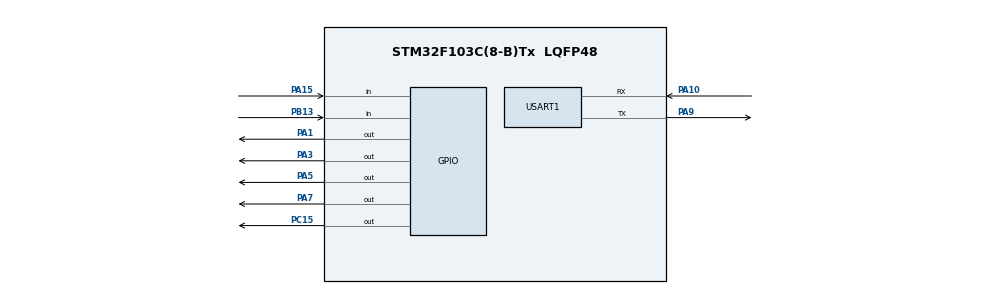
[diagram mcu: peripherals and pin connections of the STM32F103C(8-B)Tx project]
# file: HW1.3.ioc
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Mcu.Family=STM32F1
Mcu.Name=STM32F103C(8-B)Tx
Mcu.Package=LQFP48
NVIC.PriorityGroup=NVIC_PRIORITYGROUP_4
NVIC.USART1_IRQn=true\:0\:0\:false\:false\:true\:true\:true\:true
PA1.GPIO_PuPd=GPIO_NOPULL
PA1.Signal=GPIO_Output
PA10.Mode=Asynchronous
PA10.Signal=USART1_RX
PA13.Mode=Serial_Wire
PA13.Signal=SYS_JTMS-SWDIO
PA14.Mode=Serial_Wire
PA14.Signal=SYS_JTCK-SWCLK
PA15.GPIO_PuPd=GPIO_PULLUP
PA15.Signal=GPIO_Input
PA3.Signal=GPIO_Output
PA5.Signal=GPIO_Output
PA7.Signal=GPIO_Output
PA9.Mode=Asynchronous
PA9.Signal=USART1_TX
PB13.GPIO_PuPd=GPIO_PULLUP
PB13.Signal=GPIO_Input
PC15-OSC32_OUT.Signal=GPIO_Output
ProjectManager.HeapSize=0x200
ProjectManager.StackSize=0x400
ProjectManager.TargetToolchain=MDK-ARM V5.32
RCC.APB1Freq_Value=8000000
RCC.APB2Freq_Value=8000000
USART1.VirtualMode=VM_ASYNC
board=custom

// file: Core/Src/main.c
/* USER CODE BEGIN Header */
/**
  ******************************************************************************
  * @file           : main.c
  * @brief          : Main program body
  ******************************************************************************
  * @attention
  *
  * Copyright (c) 2026 STMicroelectronics.
  * All rights reserved.
  *
  * This software is licensed under terms that can be found in the LICENSE file
  * in the root directory of this software component.
  * If no LICENSE file comes with this software, it is provided AS-IS.
  *
  ******************************************************************************
  */
/* USER CODE END Header */
#include "main.h"

UART_HandleTypeDef huart1;

void SystemClock_Config(void);
static void MX_GPIO_Init(void);
static void MX_USART1_UART_Init(void);

int main(void)
{

  /* MCU Configuration--------------------------------------------------------*/

  /* Reset of all peripherals, Initializes the Flash interface and the Systick. */
  HAL_Init();

  /* Configure the system clock */
  SystemClock_Config();

  /* Initialize all configured peripherals */
  MX_GPIO_Init();
  MX_USART1_UART_Init();

  /* Infinite loop */
  /* USER CODE BEGIN WHILE */

	while (1)
  {
		uint8_t mode=0;
		HAL_UART_Receive(&huart1,&mode,1,20);
		if(mode=='0'){
		HAL_GPIO_WritePin(GPIOA,GPIO_PIN_7,GPIO_PIN_SET);
		HAL_Delay(100);
		HAL_GPIO_WritePin(GPIOA,GPIO_PIN_7,GPIO_PIN_RESET);
		HAL_Delay(100);
		HAL_GPIO_WritePin(GPIOA,GPIO_PIN_5,GPIO_PIN_SET);
		HAL_Delay(100);
		HAL_GPIO_WritePin(GPIOA,GPIO_PIN_5,GPIO_PIN_RESET);
		HAL_Delay(100);
		HAL_GPIO_WritePin(GPIOA,GPIO_PIN_3,GPIO_PIN_SET);
		HAL_Delay(100);
		HAL_GPIO_WritePin(GPIOA,GPIO_PIN_3,GPIO_PIN_RESET);
		HAL_Delay(100);
		HAL_GPIO_WritePin(GPIOA,GPIO_PIN_1,GPIO_PIN_SET);
		HAL_Delay(100);
		HAL_GPIO_WritePin(GPIOA,GPIO_PIN_1,GPIO_PIN_RESET);
		HAL_Delay(100);
		HAL_GPIO_WritePin(GPIOC,GPIO_PIN_15,GPIO_PIN_SET);
		HAL_Delay(100);
		HAL_GPIO_WritePin(GPIOC,GPIO_PIN_15,GPIO_PIN_RESET);
		HAL_Delay(100);

		HAL_UART_Receive(&huart1,&mode,1,HAL_MAX_DELAY);
		}

		if(mode=='1'){
		HAL_GPIO_WritePin(GPIOA,GPIO_PIN_7,GPIO_PIN_SET);
		HAL_Delay(100);
		HAL_GPIO_WritePin(GPIOA,GPIO_PIN_7,GPIO_PIN_RESET);
		HAL_Delay(100);
		HAL_GPIO_WritePin(GPIOA,GPIO_PIN_5,GPIO_PIN_SET);
		HAL_Delay(100);
		HAL_GPIO_WritePin(GPIOA,GPIO_PIN_5,GPIO_PIN_RESET);
		HAL_Delay(100);
		HAL_GPIO_WritePin(GPIOA,GPIO_PIN_3,GPIO_PIN_SET);
		HAL_Delay(100);
		HAL_GPIO_WritePin(GPIOA,GPIO_PIN_3,GPIO_PIN_RESET);
		HAL_Delay(100);
		HAL_GPIO_WritePin(GPIOA,GPIO_PIN_1,GPIO_PIN_SET);
		HAL_Delay(100);
		HAL_GPIO_WritePin(GPIOA,GPIO_PIN_1,GPIO_PIN_RESET);
		HAL_Delay(100);
		HAL_GPIO_WritePin(GPIOC,GPIO_PIN_15,GPIO_PIN_SET);
		HAL_Delay(100);
		HAL_GPIO_WritePin(GPIOC,GPIO_PIN_15,GPIO_PIN_RESET);
		HAL_Delay(100);
		HAL_GPIO_WritePin(GPIOA,GPIO_PIN_1,GPIO_PIN_SET);
		HAL_Delay(100);
		HAL_GPIO_WritePin(GPIOA,GPIO_PIN_1,GPIO_PIN_RESET);
		HAL_Delay(100);
		HAL_GPIO_WritePin(GPIOA,GPIO_PIN_3,GPIO_PIN_SET);
		HAL_Delay(100);
		HAL_GPIO_WritePin(GPIOA,GPIO_PIN_3,GPIO_PIN_RESET);
		HAL_Delay(100);
		HAL_GPIO_WritePin(GPIOA,GPIO_PIN_5,GPIO_PIN_SET);
		HAL_Delay(100);
		HAL_GPIO_WritePin(GPIOA,GPIO_PIN_5,GPIO_PIN_RESET);
		HAL_Delay(100);
		HAL_GPIO_WritePin(GPIOA,GPIO_PIN_7,GPIO_PIN_SET);
		HAL_Delay(100);
		HAL_GPIO_WritePin(GPIOA,GPIO_PIN_7,GPIO_PIN_RESET);
		HAL_Delay(100);
		HAL_UART_Receive(&huart1,&mode,1,HAL_MAX_DELAY);}

		if(mode=='2'){
		HAL_GPIO_WritePin(GPIOA,GPIO_PIN_1,GPIO_PIN_SET);
		HAL_GPIO_WritePin(GPIOA,GPIO_PIN_3,GPIO_PIN_SET);
		HAL_GPIO_WritePin(GPIOA,GPIO_PIN_5,GPIO_PIN_SET);
		HAL_GPIO_WritePin(GPIOA,GPIO_PIN_7,GPIO_PIN_SET);
		HAL_GPIO_WritePin(GPIOC,GPIO_PIN_15,GPIO_PIN_SET);
		HAL_Delay(400);
		HAL_GPIO_WritePin(GPIOA,GPIO_PIN_1,GPIO_PIN_RESET);
		HAL_GPIO_WritePin(GPIOA,GPIO_PIN_3,GPIO_PIN_RESET);
		HAL_GPIO_WritePin(GPIOA,GPIO_PIN_5,GPIO_PIN_RESET);
		HAL_GPIO_WritePin(GPIOA,GPIO_PIN_7,GPIO_PIN_RESET);
		HAL_GPIO_WritePin(GPIOC,GPIO_PIN_15,GPIO_PIN_RESET);
    HAL_Delay(400);
		HAL_UART_Receive(&huart1,&mode,1,HAL_MAX_DELAY);}

		if(mode=='3'){
		HAL_GPIO_WritePin(GPIOA,GPIO_PIN_1,GPIO_PIN_RESET);
		HAL_GPIO_WritePin(GPIOA,GPIO_PIN_3,GPIO_PIN_SET);
		HAL_GPIO_WritePin(GPIOA,GPIO_PIN_5,GPIO_PIN_SET);
		HAL_GPIO_WritePin(GPIOA,GPIO_PIN_7,GPIO_PIN_SET);
		HAL_GPIO_WritePin(GPIOC,GPIO_PIN_15,GPIO_PIN_RESET);
		HAL_Delay(200);
		HAL_GPIO_WritePin(GPIOA,GPIO_PIN_1,GPIO_PIN_SET);
		HAL_GPIO_WritePin(GPIOA,GPIO_PIN_3,GPIO_PIN_RESET);
		HAL_GPIO_WritePin(GPIOA,GPIO_PIN_5,GPIO_PIN_RESET);
		HAL_GPIO_WritePin(GPIOA,GPIO_PIN_7,GPIO_PIN_RESET);
		HAL_GPIO_WritePin(GPIOC,GPIO_PIN_15,GPIO_PIN_SET);
    HAL_Delay(200);
		HAL_GPIO_WritePin(GPIOA,GPIO_PIN_1,GPIO_PIN_RESET);
		HAL_GPIO_WritePin(GPIOC,GPIO_PIN_15,GPIO_PIN_RESET);
		HAL_UART_Receive(&huart1,&mode,1,HAL_MAX_DELAY);}

		if(HAL_GPIO_ReadPin(GPIOA,GPIO_PIN_15)==RESET)
		{
		HAL_Delay(20);
		if(HAL_GPIO_ReadPin(GPIOA,GPIO_PIN_15)==RESET){
		while(HAL_GPIO_ReadPin(GPIOA,GPIO_PIN_15)==RESET){
		HAL_GPIO_WritePin(GPIOA,GPIO_PIN_1,GPIO_PIN_RESET);
		HAL_GPIO_WritePin(GPIOA,GPIO_PIN_3,GPIO_PIN_SET);
		HAL_GPIO_WritePin(GPIOA,GPIO_PIN_5,GPIO_PIN_SET);
		HAL_GPIO_WritePin(GPIOA,GPIO_PIN_7,GPIO_PIN_SET);
		HAL_GPIO_WritePin(GPIOC,GPIO_PIN_15,GPIO_PIN_RESET);
		HAL_Delay(200);
		HAL_GPIO_WritePin(GPIOA,GPIO_PIN_1,GPIO_PIN_SET);
		HAL_GPIO_WritePin(GPIOA,GPIO_PIN_3,GPIO_PIN_RESET);
		HAL_GPIO_WritePin(GPIOA,GPIO_PIN_5,GPIO_PIN_RESET);
		HAL_GPIO_WritePin(GPIOA,GPIO_PIN_7,GPIO_PIN_RESET);
		HAL_GPIO_WritePin(GPIOC,GPIO_PIN_15,GPIO_PIN_SET);
    HAL_Delay(200);
		}
	  HAL_GPIO_WritePin(GPIOC,GPIO_PIN_15,GPIO_PIN_RESET);
	  HAL_GPIO_WritePin(GPIOA,GPIO_PIN_1,GPIO_PIN_RESET);}}

		if(HAL_GPIO_ReadPin(GPIOB,GPIO_PIN_13)==RESET)
		{
		HAL_Delay(20);
		if(HAL_GPIO_ReadPin(GPIOB,GPIO_PIN_13)==RESET){
		while(HAL_GPIO_ReadPin(GPIOB,GPIO_PIN_13)==RESET){
		HAL_GPIO_WritePin(GPIOA,GPIO_PIN_1,GPIO_PIN_SET);
		HAL_GPIO_WritePin(GPIOA,GPIO_PIN_3,GPIO_PIN_SET);
		HAL_GPIO_WritePin(GPIOA,GPIO_PIN_5,GPIO_PIN_SET);
		HAL_GPIO_WritePin(GPIOA,GPIO_PIN_7,GPIO_PIN_SET);
		HAL_GPIO_WritePin(GPIOC,GPIO_PIN_15,GPIO_PIN_SET);
		HAL_Delay(400);
		HAL_GPIO_WritePin(GPIOA,GPIO_PIN_1,GPIO_PIN_RESET);
		HAL_GPIO_WritePin(GPIOA,GPIO_PIN_3,GPIO_PIN_RESET);
		HAL_GPIO_WritePin(GPIOA,GPIO_PIN_5,GPIO_PIN_RESET);
		HAL_GPIO_WritePin(GPIOA,GPIO_PIN_7,GPIO_PIN_RESET);
		HAL_GPIO_WritePin(GPIOC,GPIO_PIN_15,GPIO_PIN_RESET);
    HAL_Delay(400);
		}}}

    /* USER CODE END WHILE */

  }
}

void SystemClock_Config(void)
{
  RCC_OscInitTypeDef RCC_OscInitStruct = {0};
  RCC_ClkInitTypeDef RCC_ClkInitStruct = {0};

  /** Initializes the RCC Oscillators according to the specified parameters
  * in the RCC_OscInitTypeDef structure.
  */
  RCC_OscInitStruct.OscillatorType = RCC_OSCILLATORTYPE_HSI;
  RCC_OscInitStruct.HSIState = RCC_HSI_ON;
  RCC_OscInitStruct.HSICalibrationValue = RCC_HSICALIBRATION_DEFAULT;
  RCC_OscInitStruct.PLL.PLLState = RCC_PLL_NONE;
  if (HAL_RCC_OscConfig(&RCC_OscInitStruct) != HAL_OK)
  {
    Error_Handler();
  }

  /** Initializes the CPU, AHB and APB buses clocks
  */
  RCC_ClkInitStruct.ClockType = RCC_CLOCKTYPE_HCLK|RCC_CLOCKTYPE_SYSCLK
                              |RCC_CLOCKTYPE_PCLK1|RCC_CLOCKTYPE_PCLK2;
  RCC_ClkInitStruct.SYSCLKSource = RCC_SYSCLKSOURCE_HSI;
  RCC_ClkInitStruct.AHBCLKDivider = RCC_SYSCLK_DIV1;
  RCC_ClkInitStruct.APB1CLKDivider = RCC_HCLK_DIV1;
  RCC_ClkInitStruct.APB2CLKDivider = RCC_HCLK_DIV1;

  if (HAL_RCC_ClockConfig(&RCC_ClkInitStruct, FLASH_LATENCY_0) != HAL_OK)
  {
    Error_Handler();
  }
}

static void MX_USART1_UART_Init(void)
{

  huart1.Instance = USART1;
  huart1.Init.BaudRate = 115200;
  huart1.Init.WordLength = UART_WORDLENGTH_8B;
  huart1.Init.StopBits = UART_STOPBITS_1;
  huart1.Init.Parity = UART_PARITY_NONE;
  huart1.Init.Mode = UART_MODE_TX_RX;
  huart1.Init.HwFlowCtl = UART_HWCONTROL_NONE;
  huart1.Init.OverSampling = UART_OVERSAMPLING_16;
  if (HAL_UART_Init(&huart1) != HAL_OK)
  {
    Error_Handler();
  }

}

static void MX_GPIO_Init(void)
{
  GPIO_InitTypeDef GPIO_InitStruct = {0};

  /* GPIO Ports Clock Enable */
  __HAL_RCC_GPIOC_CLK_ENABLE();
  __HAL_RCC_GPIOA_CLK_ENABLE();
  __HAL_RCC_GPIOB_CLK_ENABLE();

  /*Configure GPIO pin Output Level */
  HAL_GPIO_WritePin(GPIOC, GPIO_PIN_15, GPIO_PIN_RESET);

  /*Configure GPIO pin Output Level */
  HAL_GPIO_WritePin(GPIOA, GPIO_PIN_1|GPIO_PIN_3|GPIO_PIN_5|GPIO_PIN_7, GPIO_PIN_RESET);

  /*Configure GPIO pin : PC15 */
  GPIO_InitStruct.Pin = GPIO_PIN_15;
  GPIO_InitStruct.Mode = GPIO_MODE_OUTPUT_PP;
  GPIO_InitStruct.Pull = GPIO_NOPULL;
  GPIO_InitStruct.Speed = GPIO_SPEED_FREQ_LOW;
  HAL_GPIO_Init(GPIOC, &GPIO_InitStruct);

  /*Configure GPIO pins : PA1 PA3 PA5 PA7 */
  GPIO_InitStruct.Pin = GPIO_PIN_1|GPIO_PIN_3|GPIO_PIN_5|GPIO_PIN_7;
  GPIO_InitStruct.Mode = GPIO_MODE_OUTPUT_PP;
  GPIO_InitStruct.Pull = GPIO_NOPULL;
  GPIO_InitStruct.Speed = GPIO_SPEED_FREQ_LOW;
  HAL_GPIO_Init(GPIOA, &GPIO_InitStruct);

  /*Configure GPIO pin : PB13 */
  GPIO_InitStruct.Pin = GPIO_PIN_13;
  GPIO_InitStruct.Mode = GPIO_MODE_INPUT;
  GPIO_InitStruct.Pull = GPIO_PULLUP;
  HAL_GPIO_Init(GPIOB, &GPIO_InitStruct);

  /*Configure GPIO pin : PA15 */
  GPIO_InitStruct.Pin = GPIO_PIN_15;
  GPIO_InitStruct.Mode = GPIO_MODE_INPUT;
  GPIO_InitStruct.Pull = GPIO_PULLUP;
  HAL_GPIO_Init(GPIOA, &GPIO_InitStruct);

}

void Error_Handler(void)
{
  __disable_irq();
  while (1)
  {
  }
}
